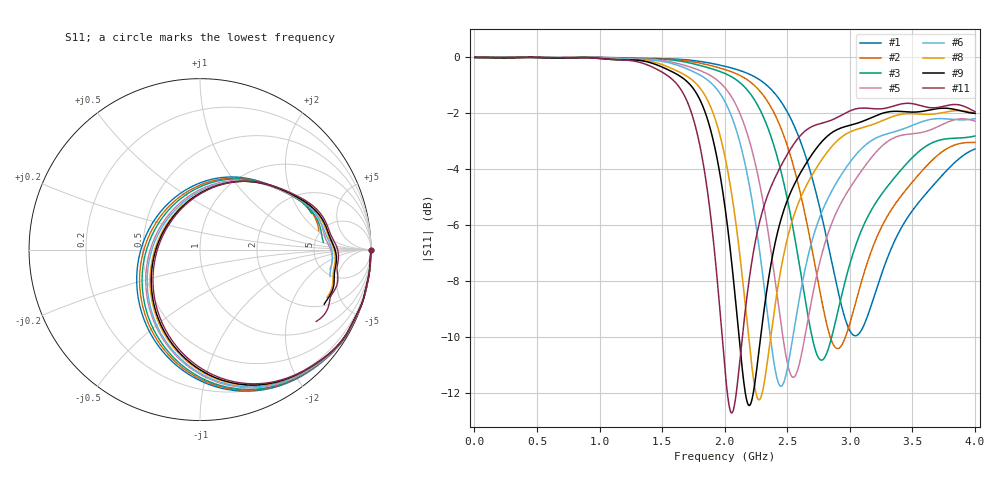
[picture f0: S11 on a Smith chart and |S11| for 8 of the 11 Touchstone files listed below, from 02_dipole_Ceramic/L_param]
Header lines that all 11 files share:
! TOUCHSTONE file generated by CST MICROWAVE STUDIO
! Project name: AppElm_antenne_dipole_Alumina.cst
! Header version: 2018
! Port assignment regex: !\s*Touchstone port\s*([0-9]+)\s*=\s*(CST MWS port|CST DS port)\s*([0-9]+|Zmin|Zmax)\s*\(\"(.*)\"\)(\s*mode\s*([0-9]+))?.*
! Touchstone port assignment:
! Touchstone port 1 = CST MWS port 1 ("")
# GHz S MA R 50
Fixed: e = 0.035, f = 2.45e+09, h = 1.6, i = 0.8, l1 = 2, lambda = 122.449, ls = 30, wl = 1.7, ws = 80
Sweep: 4 MHz to 4 GHz
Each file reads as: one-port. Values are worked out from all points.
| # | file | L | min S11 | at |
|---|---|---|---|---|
| 1 | AppElm_antenne_dipole_Alumina_1.s1p | 24.75 | -10.0 dB | 3.044 GHz |
| 2 | AppElm_antenne_dipole_Alumina_2.s1p | 26.4 | -10.4 dB | 2.9 GHz |
| 3 | AppElm_antenne_dipole_Alumina_3.s1p | 28.05 | -10.8 dB | 2.772 GHz |
| 4 | AppElm_antenne_dipole_Alumina_4.s1p | 29.7 | -11.1 dB | 2.656 GHz |
| 5 | AppElm_antenne_dipole_Alumina_5.s1p | 31.35 | -11.4 dB | 2.548 GHz |
| 6 | AppElm_antenne_dipole_Alumina_6.s1p | 33 | -11.8 dB | 2.448 GHz |
| 7 | AppElm_antenne_dipole_Alumina_7.s1p | 34.65 | -12.0 dB | 2.356 GHz |
| 8 | AppElm_antenne_dipole_Alumina_8.s1p | 36.3 | -12.3 dB | 2.272 GHz |
| 9 | AppElm_antenne_dipole_Alumina_9.s1p | 37.95 | -12.5 dB | 2.196 GHz |
| 10 | AppElm_antenne_dipole_Alumina_10.s1p | 39.6 | -12.6 dB | 2.124 GHz |
| 11 | AppElm_antenne_dipole_Alumina_11.s1p | 41.25 | -12.7 dB | 2.056 GHz |
